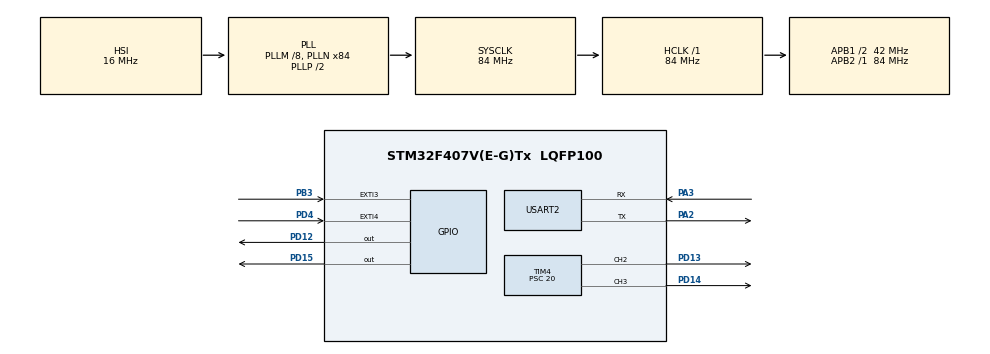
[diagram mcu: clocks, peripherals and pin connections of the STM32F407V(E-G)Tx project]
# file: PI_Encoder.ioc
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Mcu.Family=STM32F4
Mcu.Name=STM32F407V(E-G)Tx
Mcu.Package=LQFP100
NVIC.EXTI3_IRQn=true\:0\:0\:false\:false\:true\:true
NVIC.EXTI4_IRQn=true\:0\:0\:false\:false\:true\:true
NVIC.PriorityGroup=NVIC_PRIORITYGROUP_4
NVIC.TIM2_IRQn=true\:0\:0\:false\:false\:true\:true
PA13.Mode=Serial_Wire
PA13.Signal=SYS_JTMS-SWDIO
PA14.Mode=Serial_Wire
PA14.Signal=SYS_JTCK-SWCLK
PA2.Mode=Asynchronous
PA2.Signal=USART2_TX
PA3.Mode=Asynchronous
PA3.Signal=USART2_RX
PB3.Signal=GPXTI3
PD12.Signal=GPIO_Output
PD13.GPIO_ModeDefaultPP=GPIO_MODE_AF_PP
PD13.GPIO_PuPd=GPIO_NOPULL
PD13.GPIO_Speed=GPIO_SPEED_FREQ_HIGH
PD13.Signal=S_TIM4_CH2
PD14.GPIO_ModeDefaultPP=GPIO_MODE_AF_PP
PD14.GPIO_PuPd=GPIO_NOPULL
PD14.GPIO_Speed=GPIO_SPEED_FREQ_HIGH
PD14.Signal=S_TIM4_CH3
PD15.Signal=GPIO_Output
PD4.Signal=GPXTI4
ProjectManager.HeapSize=0x200
ProjectManager.StackSize=0x400
ProjectManager.TargetToolchain=MDK-ARM V5
RCC.48MHZClocksFreq_Value=42000000
RCC.AHBFreq_Value=84000000
RCC.APB1CLKDivider=RCC_HCLK_DIV2
RCC.APB1Freq_Value=42000000
RCC.APB1TimFreq_Value=84000000
RCC.APB2Freq_Value=84000000
RCC.APB2TimFreq_Value=84000000
RCC.CortexFreq_Value=84000000
RCC.HCLKFreq_Value=84000000
RCC.HSE_VALUE=25000000
RCC.HSI_VALUE=16000000
RCC.LSE_VALUE=32768
RCC.PLLM=8
RCC.PLLN=84
RCC.SYSCLKFreq_VALUE=84000000
RCC.SYSCLKSource=RCC_SYSCLKSOURCE_PLLCLK
RCC.VCOOutputFreq_Value=168000000
SH.S_TIM4_CH2.0=TIM4_CH2,PWM Generation2 CH2
SH.S_TIM4_CH3.0=TIM4_CH3,PWM Generation3 CH3
TIM2.Period=999
TIM2.Prescaler=8399
TIM4.Channel-PWM\ Generation2\ CH2=TIM_CHANNEL_2
TIM4.Channel-PWM\ Generation3\ CH3=TIM_CHANNEL_3
TIM4.Period=399
TIM4.Prescaler=20
USART2.VirtualMode=VM_ASYNC
VP_TIM2_VS_ClockSourceINT.Mode=Internal
VP_TIM4_VS_ClockSourceINT.Mode=Internal
board=custom

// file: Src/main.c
/* USER CODE BEGIN Header */
/**
  ******************************************************************************
  * @file           : main.c
  * @brief          : Main program body
  ******************************************************************************
  ** This notice applies to any and all portions of this file
  * that are not between comment pairs USER CODE BEGIN and
  * USER CODE END. Other portions of this file, whether
  * inserted by the user or by software development tools
  * are owned by their respective copyright owners.
  *
  * COPYRIGHT(c) 2019 STMicroelectronics
  *
  * Redistribution and use in source and binary forms, with or without modification,
  * are permitted provided that the following conditions are met:
  *   1. Redistributions of source code must retain the above copyright notice,
  *      this list of conditions and the following disclaimer.
  *   2. Redistributions in binary form must reproduce the above copyright notice,
  *      this list of conditions and the following disclaimer in the documentation
  *      and/or other materials provided with the distribution.
  *   3. Neither the name of STMicroelectronics nor the names of its contributors
  *      may be used to endorse or promote products derived from this software
  *      without specific prior written permission.
  *
  * THIS SOFTWARE IS PROVIDED BY THE COPYRIGHT HOLDERS AND CONTRIBUTORS "AS IS"
  * AND ANY EXPRESS OR IMPLIED WARRANTIES, INCLUDING, BUT NOT LIMITED TO, THE
  * IMPLIED WARRANTIES OF MERCHANTABILITY AND FITNESS FOR A PARTICULAR PURPOSE ARE
  * DISCLAIMED. IN NO EVENT SHALL THE COPYRIGHT HOLDER OR CONTRIBUTORS BE LIABLE
  * FOR ANY DIRECT, INDIRECT, INCIDENTAL, SPECIAL, EXEMPLARY, OR CONSEQUENTIAL
  * DAMAGES (INCLUDING, BUT NOT LIMITED TO, PROCUREMENT OF SUBSTITUTE GOODS OR
  * SERVICES; LOSS OF USE, DATA, OR PROFITS; OR BUSINESS INTERRUPTION) HOWEVER
  * CAUSED AND ON ANY THEORY OF LIABILITY, WHETHER IN CONTRACT, STRICT LIABILITY,
  * OR TORT (INCLUDING NEGLIGENCE OR OTHERWISE) ARISING IN ANY WAY OUT OF THE USE
  * OF THIS SOFTWARE, EVEN IF ADVISED OF THE POSSIBILITY OF SUCH DAMAGE.
  *
  ******************************************************************************
  */
/* USER CODE END Header */

#include "main.h"

/* USER CODE BEGIN Includes */
#include <math.h>
#include <stdbool.h>
/* USER CODE END Includes */

TIM_HandleTypeDef htim2;
TIM_HandleTypeDef htim4;

UART_HandleTypeDef huart2;

/* USER CODE BEGIN PV */

uint16_t TIM_Period = 399; //This values may need to be recalculated = (timer_tick_freq/PWM_freq)-1, with timer_tick_freq = timer_default_freq / (pre_scaler+1)
uint32_t Pulse_LeftMotor=0, Pulse_RightMotor=0; 	//Variable to count Encoder Left n Right
uint32_t NotReset_PulseLeft =0, NotReset_PulseRight=0;
float Speed_LeftMotor=0, Speed_RightMotor=0; 	//Variable from 0-100 to control duty cycle
float Ke=3,Kde=0.5,Kout=50;													//Parameter
float CurrentX=0, CurrentY=0, CurrentPhi=0, PrevPhi=0;//Current position of the vehicle
float DestX=0, DestY=0;
float PrevError=0, CurrErr=0;
float dt=0.1f; 																		//Control Period
float KhoangCach2Banh = 0.6f; //Khoang cach giua 2 banh xe
uint8_t tim2Indicator=0; //Check if timer2 works
float distance =0;

uint8_t Tx[10]; //UART Transmit buffer
float SendX,SendY;
float EuclidThresh=0.1f;

//Variable for going to different Destination
bool reach1=false,reach2=false,reach3=false;
struct listOfDest{
	float* dest1;
	unsigned int dest1_length;

	float* dest2;
	unsigned int dest2_length;

	float* dest3;
	unsigned int dest3_length;
};
//float DestX1=2.5f, DestY1=0.25f, DestX2=4.6, DestY2=4.0, DestX3=6.7,DestY3=4.1;
float DestX1=2.5f, DestY1=0.25f, DestX2=3.5f, DestY2=3.0f, DestX3=6.0f,DestY3=3.2f;
//float DestX1=2.5f, DestY1=0.25f, DestX2=10.5, DestY2=0.25f, DestX3=20.5,DestY3=0.25f;
/* USER CODE END PV */

void SystemClock_Config(void);
static void MX_GPIO_Init(void);
static void MX_TIM4_Init(void);
static void MX_TIM2_Init(void);
static void MX_USART2_UART_Init(void);
/* USER CODE BEGIN PFP */
//Ham truyen UART
void SendPos(){
	unsigned char *chptr;
	SendX = (float)CurrentX;
	chptr = (unsigned char *)&SendX;

	Tx[0]=(*chptr++);
	Tx[1]=(*chptr++);
	Tx[2]=(*chptr++);
	Tx[3]=(*chptr);

	SendY =(float) CurrentY;
	chptr = (unsigned char *)&SendY;

	Tx[4]=(*chptr++);
	Tx[5]=(*chptr++);
	Tx[6]=(*chptr++);
	Tx[7]=(*chptr);

	Tx[8]=0x0D;
	Tx[9]=0x0A;

	HAL_UART_Transmit(&huart2,Tx,10,8000);
}
//Ham tinh toan
float EuclidDistance(float x1,float y1,float x2, float y2){
	return sqrt((x1-x2)*(x1-x2)+(y1-y2)*(y1-y2));
}
//Ham xuat % dong co
void SetPWM_withDutyCycle_withStop(TIM_HandleTypeDef *htim, uint32_t Channel, int dutyCycle, int STOP_CODE){

	dutyCycle=(dutyCycle > 100 ) ? 100 : dutyCycle;
	dutyCycle=(dutyCycle < 0)? 0: dutyCycle;

	/*This function allow to Write PWM in duty cycle with timer and channel parameters*/
	int32_t pulse_length = TIM_Period*dutyCycle/100;
	__HAL_TIM_SET_COMPARE(htim, Channel, pulse_length*(1-STOP_CODE));

};

void SetPWM_withDutyCycle(TIM_HandleTypeDef *htim, uint32_t Channel, int dutyCycle){

	dutyCycle=(dutyCycle > 100 ) ? 100 : dutyCycle;
	dutyCycle=(dutyCycle < 0)? 0: dutyCycle;

	/*This function allow to Write PWM in duty cycle with timer and channel parameters*/
	int32_t pulse_length = TIM_Period*dutyCycle/100;
	__HAL_TIM_SET_COMPARE(htim, Channel, pulse_length);
};

//Fuzzy functions
double mftrap(double x,double L,double C1,double C2,double R){
	double y;
	if (x<L)
		y=0;
	else if (x<C1)
		y=(x-L)/(C1-L);
	else if (x<C2)
		y=1;
	else if (x<R)
		y=(R-x)/(R-C2);
	else
		y=0;
	return y;}
double max(double num1,double num2){
	return (num1 > num2 ) ? num1 : num2;
}
double Defuzzication_R(double e, double de){

	//Return e and de in range [-1 1]
	e=(e>1)?1:e;
	e=(e<-1)?-1:e;
	de=(de>1)?1:de;
	de=(de<-1)?-1:de;

	double e_NB,e_NE,e_ZE,e_PO,e_PB,de_NB,de_NS,de_ZE,de_PS,de_PB;

	e_NB=mftrap(e,-1.1,-1,-0.5,-0.1);
	e_NE=mftrap(e,-0.5,-0.1,-0.1,0);
	e_ZE=mftrap(e,-0.1,0,0,0.1);
	e_PO=mftrap(e,0,0.1,0.1,0.5);
	e_PB=mftrap(e,0.1,0.5,1,1.1);

	de_NB=mftrap(de,-1.1,-1,-1,-0.5);
	de_NS=mftrap(de,-1,-0.5,-0.5,0);
	de_ZE=mftrap(de,-0.5,0,0,0.5);
	de_PS=mftrap(de,0,0.5,0.5,1);
	de_PB=mftrap(de,0.5,1,1,1.1);

	double	dR_NB=-1;
	double  dR_NM=-0.6;
	double	dR_NS=-0.4;
	double	dR_ZE=0;
	double	dR_PS=0.4;
	double  dR_PM=0.6;
	double	dR_PB=1;

	double	beta1=e_NB*de_NB;   //R=NB
	double	beta2=e_NB*de_NS;   //R=NB
	double	beta3=e_NB*de_ZE;   //R=NM
	double	beta4=e_NB*de_PS;   //R=NS
	double	beta5=e_NB*de_PB;   //R=ZE
	double	beta6=e_NE*de_NB;   //R=NB
	double	beta7=e_NE*de_NS;   //R=NM
	double	beta8=e_NE*de_ZE;   //R=NS
	double	beta9=e_NE*de_PS;   //R=ZE
  double	beta10=e_NE*de_PB;  //R=PS
  double	beta11=e_ZE*de_NB;	//R=NM
  double	beta12=e_ZE*de_NS;	//R=NS
  double	beta13=e_ZE*de_ZE;	//R=ZE
	double	beta14=e_ZE*de_PS;	//R=PS
	double	beta15=e_ZE*de_PB;	//R=PM
	double	beta16=e_PO*de_NB;	//R=NS
	double	beta17=e_PO*de_NS;	//R=ZE
	double	beta18=e_PO*de_ZE;	//R=PS
	double	beta19=e_PO*de_PS;	//R=PM
	double	beta20=e_PO*de_PB;	//R=PB
	double	beta21=e_PB*de_NB;	//R=ZE
	double	beta22=e_PB*de_NS;	//R=PS
	double	beta23=e_PB*de_ZE;	//R=PM
	double	beta24=e_PB*de_PS; 	//R=PB
	double	beta25=e_PB*de_PB;	//R=PB

	double beta_NB=max(beta1,max(beta2,beta6));
	double beta_NM=max(beta3,max(beta7,beta11));
	double beta_NS=max(max(beta4,beta8),max(beta12,beta16));
	double beta_ZE=max(max(beta5,max(beta9,beta13)),max(beta17,beta21));
	double beta_PS=max(max(beta10,beta14),max(beta18,beta22));
	double beta_PM=max(beta15,max(beta19,beta23));
	double beta_PB=max(beta20,max(beta24,beta25));

	double sumBeta=beta_NB+beta_NM+beta_NS+beta_ZE+beta_PS+beta_PM+beta_PB;
	double dR=(dR_NB*beta_NB+dR_NM*beta_NM+dR_NS*beta_NS+dR_ZE*beta_ZE+dR_PS*beta_PS+dR_PM*beta_PM+dR_PB*beta_PB)/sumBeta;

	return dR;
}
double Defuzzication_L(double e, double de){
	return -1*Defuzzication_R(e,de);
}

//Control Function
double GetNewGocLai(float KhoangNhinTruoc,float xDest,float yDest,float xCurr, float yCurr,float phiCurr){
	float l = KhoangNhinTruoc;
	float xg=0,yg=0; //forhead point

	//Case 1: xDest != xCurr, we calculate (xg,yg), which is the forehead point
	if(xDest!=xCurr){
		float m =(yDest-yCurr)/(xDest-xCurr);
		float c =(yCurr*xDest-yDest*xCurr)/(xDest-xCurr);

		float A= 1+m*m;
		float B= -2*xCurr+2*m*c-2*m*yCurr;
		float C= xCurr*xCurr+(c-yCurr)*(c-yCurr)-l*l;

		if(xDest < xCurr){
			xg = (-B-sqrt(B*B-4*A*C))/(2*A);
			yg = m*xg +c;
		}else{
			xg = (-B+sqrt(B*B-4*A*C))/(2*A);
			yg = m*xg +c;
		}
	}

	//Case 2: xDest = xCurr, we calculate (xg,yg), which is the forehead point
	if(xDest == xCurr){
		if(yDest < yCurr){
			xg = xDest;
			yg = yCurr-l;
		}else if(yDest > yCurr){
			xg = xDest;
			yg = yCurr+l;
		}
	}

	//Now we have (xg,yg), scale it into the vehicle coordinate
	float xG = xg - xCurr;
	float yG = yg - yCurr;

	float x = xG*sin(phiCurr)-yG*cos(phiCurr);
	float y = xG*cos(phiCurr)+yG*sin(phiCurr);

	//Now we have (x,y), finally let's calculate GocLai
	float alpha = atan(x/y);
	return phiCurr-alpha;
}
double GetError(float GocLai,float CurrentPhi){
	return GocLai-CurrentPhi;
}
double GetDerivativeError(float oldErr,float newErr){
	return (newErr-oldErr)/dt;
}
void GetNewDest(float xDestOld, float yDestOld, float xcurrent, float ycurrent){
	float Distance = EuclidDistance(xDestOld,yDestOld,xcurrent,ycurrent);
	if (Distance<EuclidThresh){
		if(reach3){//Final point
			DestX = xDestOld;
			DestY = yDestOld;
		}
		else if(reach2){
			DestX = DestX3;
			DestY = DestY3;
			reach3 = true;
		}
		else if(reach1){
			DestX = DestX2;
			DestY = DestY2;
			reach2 = true;
		}
		else{
			if(!reach1){
				reach1 = true;
			}
		}
	}
	else{
		DestX = xDestOld;
		DestY = yDestOld;
	}

}

void ControlMotor(float e, float de){
	float eFuzzy = Ke*e;
	float deFuzzy =Kde*de;

	double aRight = Defuzzication_R(Ke*eFuzzy,Kde*deFuzzy);
	double aLeft 	= Defuzzication_L(Ke*eFuzzy,Kde*deFuzzy);

	Speed_RightMotor+=Kout*aRight*dt;
	Speed_LeftMotor+=Kout*aLeft*dt;

	Speed_LeftMotor=(Speed_LeftMotor>100)?100:Speed_LeftMotor;
	Speed_LeftMotor=(Speed_LeftMotor<0)?0:Speed_LeftMotor;

	Speed_RightMotor=(Speed_RightMotor>100)?100:Speed_RightMotor;
	Speed_RightMotor=(Speed_RightMotor<0)?0:Speed_RightMotor;

	distance=EuclidDistance(CurrentX,CurrentY,DestX,DestY);

	//STOP CODE RUN
	int STOPCODE=(distance>EuclidThresh)?0:1;
	SetPWM_withDutyCycle_withStop(&htim4,TIM_CHANNEL_2,(int)Speed_LeftMotor,STOPCODE); //TIM_CHANNEL_2 = PD13 = Left Motor
	SetPWM_withDutyCycle_withStop(&htim4,TIM_CHANNEL_3,(int)Speed_RightMotor,STOPCODE); //TIM_CHANNEL_3 = PD14 = Right Motor

	//WITHOUT STOP CODE
//	SetPWM_withDutyCycle(&htim4,TIM_CHANNEL_2,(int)Speed_LeftMotor); //TIM_CHANNEL_2 = PD13 = Left Motor
//	SetPWM_withDutyCycle(&htim4,TIM_CHANNEL_3,(int)Speed_RightMotor); //TIM_CHANNEL_3 = PD14 = Right Motor

}
float Encoder2Distance(int pulse){
	// 1 vong dong co = 350 xung
	// ban kinh truc dong co R = 7 mm
	return (float)pulse*2*3.14f*7/(350*1000);
}
void CalculateNewPosition(float RightDistance, float LeftDistance){

	CurrentX+=(float)((RightDistance+LeftDistance)*cos(PrevPhi)/2);
	CurrentY+=(float)((RightDistance+LeftDistance)*sin(PrevPhi)/2);
	CurrentPhi+=(RightDistance-LeftDistance)/KhoangCach2Banh;

	//Reset Encoder
	Pulse_LeftMotor =0;
	Pulse_RightMotor=0;
}
void UpdateParams(float Error,float Phi){
	PrevError=Error;
	PrevPhi=Phi;
}

/* USER CODE END PFP */

int main(void)
{

  /* MCU Configuration--------------------------------------------------------*/

  /* Reset of all peripherals, Initializes the Flash interface and the Systick. */
  HAL_Init();

  /* Configure the system clock */
  SystemClock_Config();

  /* Initialize all configured peripherals */
  MX_GPIO_Init();
  MX_TIM4_Init();
  MX_TIM2_Init();
  MX_USART2_UART_Init();
  /* USER CODE BEGIN 2 */

	//Start PWM
	HAL_TIM_PWM_Start(&htim4,TIM_CHANNEL_2);
	HAL_TIM_PWM_Start(&htim4,TIM_CHANNEL_3);

	//Initialize the Destination
	DestX = DestX1;
	DestY = DestY1;
	//Start Timer 2
	HAL_TIM_Base_Start_IT(&htim2);

	//Set GPIOD 12,15 to Vdd to Enable for the Right Driver
	HAL_GPIO_WritePin(GPIOD,GPIO_PIN_12,GPIO_PIN_SET);
	HAL_GPIO_WritePin(GPIOD,GPIO_PIN_15,GPIO_PIN_SET);

  /* USER CODE END 2 */

  /* Infinite loop */
  while (1)
  {

  }
}

void SystemClock_Config(void)
{
  RCC_OscInitTypeDef RCC_OscInitStruct = {0};
  RCC_ClkInitTypeDef RCC_ClkInitStruct = {0};

  /**Configure the main internal regulator output voltage
  */
  __HAL_RCC_PWR_CLK_ENABLE();
  __HAL_PWR_VOLTAGESCALING_CONFIG(PWR_REGULATOR_VOLTAGE_SCALE1);
  /**Initializes the CPU, AHB and APB busses clocks
  */
  RCC_OscInitStruct.OscillatorType = RCC_OSCILLATORTYPE_HSI;
  RCC_OscInitStruct.HSIState = RCC_HSI_ON;
  RCC_OscInitStruct.HSICalibrationValue = RCC_HSICALIBRATION_DEFAULT;
  RCC_OscInitStruct.PLL.PLLState = RCC_PLL_ON;
  RCC_OscInitStruct.PLL.PLLSource = RCC_PLLSOURCE_HSI;
  RCC_OscInitStruct.PLL.PLLM = 8;
  RCC_OscInitStruct.PLL.PLLN = 84;
  RCC_OscInitStruct.PLL.PLLP = RCC_PLLP_DIV2;
  RCC_OscInitStruct.PLL.PLLQ = 4;
  if (HAL_RCC_OscConfig(&RCC_OscInitStruct) != HAL_OK)
  {
    Error_Handler();
  }
  /**Initializes the CPU, AHB and APB busses clocks
  */
  RCC_ClkInitStruct.ClockType = RCC_CLOCKTYPE_HCLK|RCC_CLOCKTYPE_SYSCLK
                              |RCC_CLOCKTYPE_PCLK1|RCC_CLOCKTYPE_PCLK2;
  RCC_ClkInitStruct.SYSCLKSource = RCC_SYSCLKSOURCE_PLLCLK;
  RCC_ClkInitStruct.AHBCLKDivider = RCC_SYSCLK_DIV1;
  RCC_ClkInitStruct.APB1CLKDivider = RCC_HCLK_DIV2;
  RCC_ClkInitStruct.APB2CLKDivider = RCC_HCLK_DIV1;

  if (HAL_RCC_ClockConfig(&RCC_ClkInitStruct, FLASH_LATENCY_2) != HAL_OK)
  {
    Error_Handler();
  }
}

static void MX_TIM2_Init(void)
{

  TIM_ClockConfigTypeDef sClockSourceConfig = {0};
  TIM_MasterConfigTypeDef sMasterConfig = {0};

  htim2.Instance = TIM2;
  htim2.Init.Prescaler = 8399;
  htim2.Init.CounterMode = TIM_COUNTERMODE_UP;
  htim2.Init.Period = 999;
  htim2.Init.ClockDivision = TIM_CLOCKDIVISION_DIV1;
  if (HAL_TIM_Base_Init(&htim2) != HAL_OK)
  {
    Error_Handler();
  }
  sClockSourceConfig.ClockSource = TIM_CLOCKSOURCE_INTERNAL;
  if (HAL_TIM_ConfigClockSource(&htim2, &sClockSourceConfig) != HAL_OK)
  {
    Error_Handler();
  }
  sMasterConfig.MasterOutputTrigger = TIM_TRGO_RESET;
  sMasterConfig.MasterSlaveMode = TIM_MASTERSLAVEMODE_DISABLE;
  if (HAL_TIMEx_MasterConfigSynchronization(&htim2, &sMasterConfig) != HAL_OK)
  {
    Error_Handler();
  }

}

static void MX_TIM4_Init(void)
{

  TIM_ClockConfigTypeDef sClockSourceConfig = {0};
  TIM_MasterConfigTypeDef sMasterConfig = {0};
  TIM_OC_InitTypeDef sConfigOC = {0};

  htim4.Instance = TIM4;
  htim4.Init.Prescaler = 20;
  htim4.Init.CounterMode = TIM_COUNTERMODE_UP;
  htim4.Init.Period = 399;
  htim4.Init.ClockDivision = TIM_CLOCKDIVISION_DIV1;
  if (HAL_TIM_Base_Init(&htim4) != HAL_OK)
  {
    Error_Handler();
  }
  sClockSourceConfig.ClockSource = TIM_CLOCKSOURCE_INTERNAL;
  if (HAL_TIM_ConfigClockSource(&htim4, &sClockSourceConfig) != HAL_OK)
  {
    Error_Handler();
  }
  if (HAL_TIM_PWM_Init(&htim4) != HAL_OK)
  {
    Error_Handler();
  }
  sMasterConfig.MasterOutputTrigger = TIM_TRGO_RESET;
  sMasterConfig.MasterSlaveMode = TIM_MASTERSLAVEMODE_DISABLE;
  if (HAL_TIMEx_MasterConfigSynchronization(&htim4, &sMasterConfig) != HAL_OK)
  {
    Error_Handler();
  }
  sConfigOC.OCMode = TIM_OCMODE_PWM1;
  sConfigOC.Pulse = 0;
  sConfigOC.OCPolarity = TIM_OCPOLARITY_HIGH;
  sConfigOC.OCFastMode = TIM_OCFAST_DISABLE;
  if (HAL_TIM_PWM_ConfigChannel(&htim4, &sConfigOC, TIM_CHANNEL_2) != HAL_OK)
  {
    Error_Handler();
  }
  if (HAL_TIM_PWM_ConfigChannel(&htim4, &sConfigOC, TIM_CHANNEL_3) != HAL_OK)
  {
    Error_Handler();
  }
  HAL_TIM_MspPostInit(&htim4);

}

static void MX_USART2_UART_Init(void)
{

  huart2.Instance = USART2;
  huart2.Init.BaudRate = 115200;
  huart2.Init.WordLength = UART_WORDLENGTH_8B;
  huart2.Init.StopBits = UART_STOPBITS_1;
  huart2.Init.Parity = UART_PARITY_NONE;
  huart2.Init.Mode = UART_MODE_TX_RX;
  huart2.Init.HwFlowCtl = UART_HWCONTROL_NONE;
  huart2.Init.OverSampling = UART_OVERSAMPLING_16;
  if (HAL_UART_Init(&huart2) != HAL_OK)
  {
    Error_Handler();
  }

}

static void MX_GPIO_Init(void)
{
  GPIO_InitTypeDef GPIO_InitStruct = {0};

  /* GPIO Ports Clock Enable */
  __HAL_RCC_GPIOA_CLK_ENABLE();
  __HAL_RCC_GPIOD_CLK_ENABLE();
  __HAL_RCC_GPIOB_CLK_ENABLE();

  /*Configure GPIO pin Output Level */
  HAL_GPIO_WritePin(GPIOD, GPIO_PIN_12|GPIO_PIN_15, GPIO_PIN_RESET);

  /*Configure GPIO pins : PD12 PD15 */
  GPIO_InitStruct.Pin = GPIO_PIN_12|GPIO_PIN_15;
  GPIO_InitStruct.Mode = GPIO_MODE_OUTPUT_PP;
  GPIO_InitStruct.Pull = GPIO_NOPULL;
  GPIO_InitStruct.Speed = GPIO_SPEED_FREQ_LOW;
  HAL_GPIO_Init(GPIOD, &GPIO_InitStruct);

  /*Configure GPIO pin : PD4 */
  GPIO_InitStruct.Pin = GPIO_PIN_4;
  GPIO_InitStruct.Mode = GPIO_MODE_IT_RISING;
  GPIO_InitStruct.Pull = GPIO_NOPULL;
  HAL_GPIO_Init(GPIOD, &GPIO_InitStruct);

  /*Configure GPIO pin : PB3 */
  GPIO_InitStruct.Pin = GPIO_PIN_3;
  GPIO_InitStruct.Mode = GPIO_MODE_IT_RISING;
  GPIO_InitStruct.Pull = GPIO_NOPULL;
  HAL_GPIO_Init(GPIOB, &GPIO_InitStruct);

  /* EXTI interrupt init*/
  HAL_NVIC_SetPriority(EXTI3_IRQn, 0, 0);
  HAL_NVIC_EnableIRQ(EXTI3_IRQn);

  HAL_NVIC_SetPriority(EXTI4_IRQn, 0, 0);
  HAL_NVIC_EnableIRQ(EXTI4_IRQn);

}

/* USER CODE BEGIN 4 */

//Timer 2 call back
void HAL_TIM_PeriodElapsedCallback(TIM_HandleTypeDef *htim){
	if(htim->Instance==htim2.Instance){
		//Some Indicator
		tim2Indicator ++;

		//Encoder2Distance
		/*
		Get
		*/
		float distanceR = Encoder2Distance(Pulse_RightMotor);
		float distanceL = Encoder2Distance(Pulse_LeftMotor);

		//Calculate new Position
		/*
		Params from Left and Right Distance, cope with CurrentX, CurrentY, PrevPhi
		Return CurrenX, CurrentY, CurrentPhi
		*/
		CalculateNewPosition(distanceR,distanceL);
		SendPos();

	//Update Paramss
		/*
		Params from Error and Phi
		update PrevErr, PrevPhi
		*/
		UpdateParams(CurrErr,CurrentPhi);

	//Tinh lai DestX, DestY
		/*
		Params from Current dest and current position
		*/
		GetNewDest(DestX,DestY,CurrentX,CurrentY);

	//GetNewGocLai
		/*
		Params from DestX,DestY, CurrentX, Current Y, CurrentPhi
		return GocLai
		*/
		float gocLai=GetNewGocLai(0.6f, DestX,DestY,CurrentX,CurrentY,CurrentPhi);

	//Get current Error
		/*
		Params from GocLai and CurrentPhi
		Return Error
		*/
		CurrErr = GetError(gocLai,CurrentPhi);

	//Get current Deriative Error
		/*
		Params from the new Error, and the PrevErr
		Return Derivative Error
		*/
		float dCurrErr = GetDerivativeError(PrevError,CurrErr);

	//Control Motors
		/*
		Params from the new Error and the new Derivative Error
		Control Motor Left n Right
		Reset Encoder Counters
		After this, Encoder will continued to be counted for the next dt(s) (in this case, dt = 0.1)
		*/
		ControlMotor(CurrErr,dCurrErr);
	}
}

/* USER CODE END 4 */

void Error_Handler(void)
{
}

/************************ (C) COPYRIGHT STMicroelectronics *****END OF FILE****/
